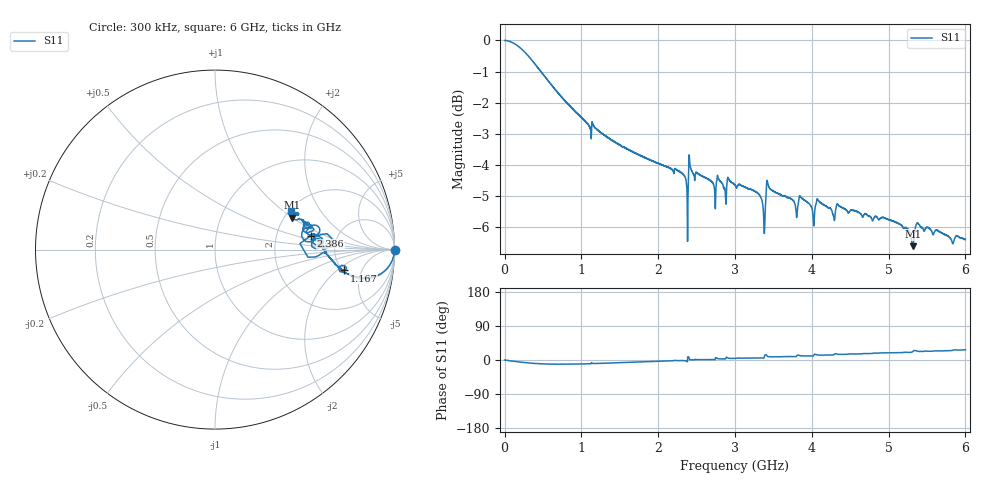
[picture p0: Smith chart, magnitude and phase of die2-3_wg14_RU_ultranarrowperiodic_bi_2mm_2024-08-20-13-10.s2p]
!Keysight Technologies,P9374A,MY57304198,A.17.20.09
!Date: Tuesday, August 20, 2024 13:10:56
!Correction: S11(C  1-Port  )
!S21(C  1-Port  )
!S12(Off)
!S22(Off)
!S2P File: Measurements: S11, S21, S12, S22:
# Hz S  dB  R 50
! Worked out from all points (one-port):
!   6000 points, 300 kHz to 6 GHz, reference 50 ohm
!   lowest |S11| = -6.6 dB at 5.314 GHz (marker M1), VSWR 2.74, Z = 110 + j50 ohm
!   |S11| at or under -10 dB: nowhere
!   S11 on the Smith chart (normalised r, x): 300 kHz: open; 1.167 GHz: 5.06, -2.49; 2.386 GHz: 3.17, +0.70; 6 GHz: 2.04, +1.15
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300000  0.00 -0.0  -200.00 45.0  -200.00 45.0  -200.00 45.0
2.373277e8  -0.31 -6.2  -200.00 45.0  -200.00 45.0  -200.00 45.0
4.163485e8  -0.82 -9.3  -200.00 45.0  -200.00 45.0  -200.00 45.0
1.000417e9  -2.47 -10.4  -200.00 45.0  -200.00 45.0  -200.00 45.0
1.167436e9  -2.77 -9.2  -200.00 45.0  -200.00 45.0  -200.00 45.0
2.000533e9  -3.96 -3.3  -200.00 45.0  -200.00 45.0  -200.00 45.0
2.350574e9  -4.42 -1.7  -200.00 45.0  -200.00 45.0  -200.00 45.0
2.385578e9  -5.36 8.3  -200.00 45.0  -200.00 45.0  -200.00 45.0
2.426583e9  -4.13 0.6  -200.00 45.0  -200.00 45.0  -200.00 45.0
2.726618e9  -4.69 1.1  -200.00 45.0  -200.00 45.0  -200.00 45.0
3.00065e9  -4.65 4.2  -200.00 45.0  -200.00 45.0  -200.00 45.0
3.349691e9  -5.15 5.3  -200.00 45.0  -200.00 45.0  -200.00 45.0
3.377694e9  -6.00 5.7  -200.00 45.0  -200.00 45.0  -200.00 45.0
3.413698e9  -4.55 12.0  -200.00 45.0  -200.00 45.0  -200.00 45.0
3.505709e9  -4.86 8.3  -200.00 45.0  -200.00 45.0  -200.00 45.0
3.835747e9  -5.05 12.4  -200.00 45.0  -200.00 45.0  -200.00 45.0
4.000767e9  -5.40 10.6  -200.00 45.0  -200.00 45.0  -200.00 45.0
4.057773e9  -5.26 14.6  -200.00 45.0  -200.00 45.0  -200.00 45.0
5.000883e9  -5.78 18.8  -200.00 45.0  -200.00 45.0  -200.00 45.0
5.31392e9  -6.63 22.5  -200.00 45.0  -200.00 45.0  -200.00 45.0
5.393929e9  -5.93 22.7  -200.00 45.0  -200.00 45.0  -200.00 45.0
6e9  -6.41 27.1  -200.00 45.0  -200.00 45.0  -200.00 45.0
